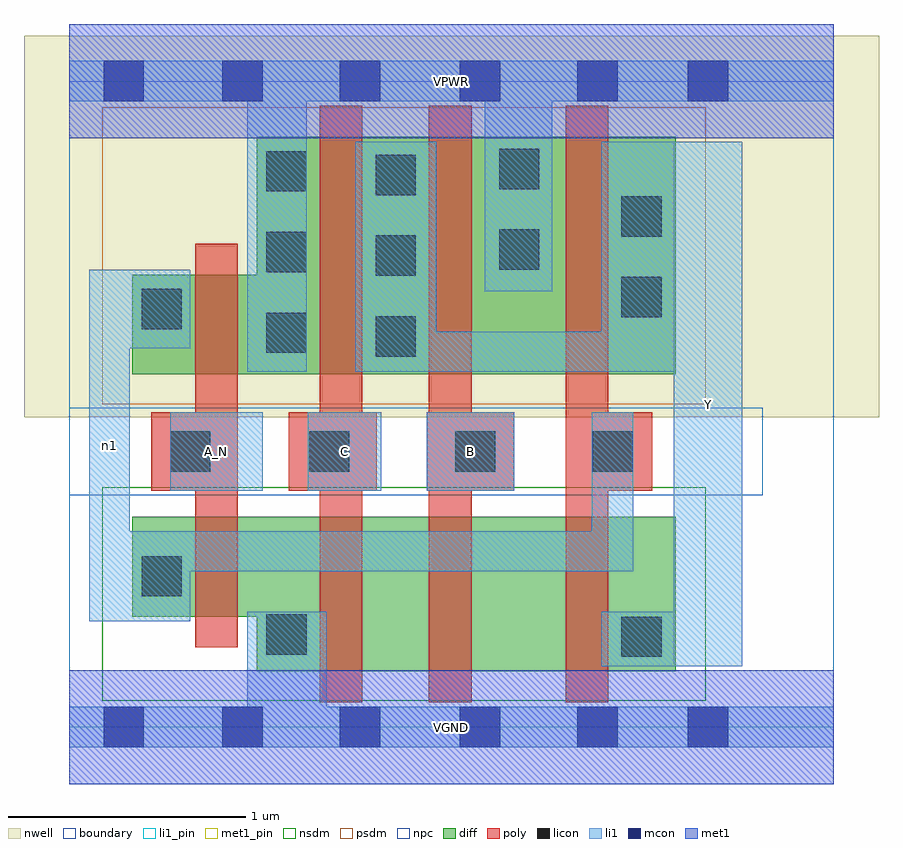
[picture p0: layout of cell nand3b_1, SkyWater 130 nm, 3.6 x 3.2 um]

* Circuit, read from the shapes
.subckt nand3b_1 A_N B C VGND VPWR Y n1
XM1 VGND A_N n1 VSUBS sky130_fd_pr__nfet_01v8 w=0.42 l=0.18
XM2 n2 C VGND VSUBS sky130_fd_pr__nfet_01v8 w=0.65 l=0.18
XM3 n3 B n2 VSUBS sky130_fd_pr__nfet_01v8 w=0.65 l=0.18
XM4 Y n1 n3 VSUBS sky130_fd_pr__nfet_01v8 w=0.65 l=0.18
XM5 VPWR A_N n1 n4 sky130_fd_pr__pfet_01v8 w=0.42 l=0.18
XM6 Y C VPWR n4 sky130_fd_pr__pfet_01v8 w=1 l=0.18
XM7 VPWR B Y n4 sky130_fd_pr__pfet_01v8 w=1 l=0.18
XM8 Y n1 VPWR n4 sky130_fd_pr__pfet_01v8 w=1 l=0.18
.ends

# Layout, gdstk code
import gdstk
lib = gdstk.Library(unit=1e-6, precision=1e-09)
def R(c, l, rs):  # rectangles x0, y0, x1, y1
    for r in rs: c.add(gdstk.rectangle(r[:2], r[2:], *l))
def A(c, l, x, y, w, h, nx, ny, dx, dy):  # array of equal rectangles
    R(c, l, [(x+i*dx, y+j*dy, x+i*dx+w, y+j*dy+h) for i in range(nx) for j in range(ny)])
nwell = (64, 20)
diff = (65, 20)
poly = (66, 20)
licon = (66, 44)
li1_pin = (67, 16)
li1 = (67, 20)
mcon = (67, 44)
met1_pin = (68, 16)
met1 = (68, 20)
nsdm = (93, 44)
psdm = (94, 20)
npc = (95, 20)
boundary = (235, 4)

nand3b_1 = lib.new_cell('nand3b_1')
R(nand3b_1, nwell, [(-0.19,1.305,3.41,2.91), (0,1.305,3.22,2.91)])
R(nand3b_1, diff, [(0.79,0.235,2.555,0.885), (0.265,0.465,2.555,0.885), (0.265,1.485,2.555,1.905), (0.79,1.485,2.555,2.485)])
R(nand3b_1, poly, [(1.055,0.105,1.235,2.615), (1.515,0.105,1.695,2.615), (2.09,0.105,2.27,2.615), (0.53,0.335,0.71,2.035), (0.345,0.995,0.71,1.325), (0.925,0.995,1.295,1.325), (1.505,0.995,1.875,1.325), (2.09,0.995,2.455,1.325)])
A(nand3b_1, licon, 1.29, 1.56, 0.17, 0.17, 1, 3, 0, 0.34)
A(nand3b_1, licon, 0.83, 1.575, 0.17, 0.17, 1, 3, 0, 0.34)
R(nand3b_1, licon, [(2.325,0.295,2.495,0.465), (0.83,0.305,1,0.475), (0.305,0.55,0.475,0.72), (0.425,1.075,0.595,1.245), (1.01,1.075,1.18,1.245), (1.625,1.075,1.795,1.245), (2.205,1.075,2.375,1.245), (0.305,1.675,0.475,1.845), (2.325,1.725,2.495,1.895), (1.81,1.925,1.98,2.095), (2.325,2.065,2.495,2.235), (1.81,2.265,1.98,2.435)])
R(nand3b_1, li1_pin, [(2.545,0.255,2.835,2.465), (0.425,0.995,0.815,1.325), (1.005,0.995,1.315,1.325), (1.505,0.995,1.875,1.325)])
R(nand3b_1, li1, [(0,-0.085,3.22,0.085), (0.75,-0.085,1.085,0.485), (2.24,0.255,2.835,0.485), (2.545,0.255,2.835,2.465), (0.085,0.445,0.255,1.925), (0.085,0.445,0.51,0.825), (0.085,0.655,2.375,0.825), (2.2,0.655,2.375,1.325), (0.425,0.995,0.815,1.325), (1.005,0.995,1.315,1.325), (1.505,0.995,1.875,1.325), (0.75,1.495,1,2.805), (1.205,1.495,1.545,2.465), (1.205,1.495,2.835,1.665), (2.24,1.495,2.545,2.465), (0.085,1.595,0.51,1.925), (1.75,1.835,2.035,2.805), (0,2.635,3.22,2.805)])
R(nand3b_1, mcon, [(0.145,-0.085,0.315,0.085), (0.645,-0.085,0.815,0.085), (1.14,-0.085,1.31,0.085), (1.645,-0.085,1.815,0.085), (2.14,-0.085,2.31,0.085), (2.605,-0.085,2.775,0.085), (0.145,2.635,0.315,2.805), (0.645,2.635,0.815,2.805), (1.14,2.635,1.31,2.805), (1.645,2.635,1.815,2.805), (2.14,2.635,2.31,2.805), (2.605,2.635,2.775,2.805)])
R(nand3b_1, met1_pin, [(0,-0.24,3.22,0.24), (0,2.48,3.22,2.96)])
R(nand3b_1, met1, [(0,-0.24,3.22,0.24), (0,2.48,3.22,2.96)])
R(nand3b_1, nsdm, [(0.14,0.11,2.68,1.01)])
R(nand3b_1, psdm, [(0.14,1.36,2.68,2.61)])
R(nand3b_1, npc, [(0,0.975,2.92,1.345)])
R(nand3b_1, boundary, [(0,0,3.22,2.72)])
nand3b_1.add(gdstk.Label('A_N', (0.62,1.16), layer=67, texttype=5))
nand3b_1.add(gdstk.Label('B', (1.69,1.16), layer=67, texttype=5))
nand3b_1.add(gdstk.Label('C', (1.16,1.16), layer=67, texttype=5))
nand3b_1.add(gdstk.Label('Y', (2.69,1.36), layer=67, texttype=5))
nand3b_1.add(gdstk.Label('n1', (0.17,1.185), layer=67, texttype=5))
nand3b_1.add(gdstk.Label('VPWR', (1.61,2.72), layer=68, texttype=5))
nand3b_1.add(gdstk.Label('VGND', (1.61,0), layer=68, texttype=5))
nand3b_1.add(gdstk.Label('A_N', (0.62,1.16), layer=67, texttype=16))
nand3b_1.add(gdstk.Label('B', (1.69,1.16), layer=67, texttype=16))
nand3b_1.add(gdstk.Label('C', (1.16,1.16), layer=67, texttype=16))
nand3b_1.add(gdstk.Label('Y', (2.69,1.36), layer=67, texttype=16))
nand3b_1.add(gdstk.Label('VPWR', (1.61,2.72), layer=68, texttype=16))
nand3b_1.add(gdstk.Label('VGND', (1.61,0), layer=68, texttype=16))

lib.write_gds('nand3b_1.gds')
